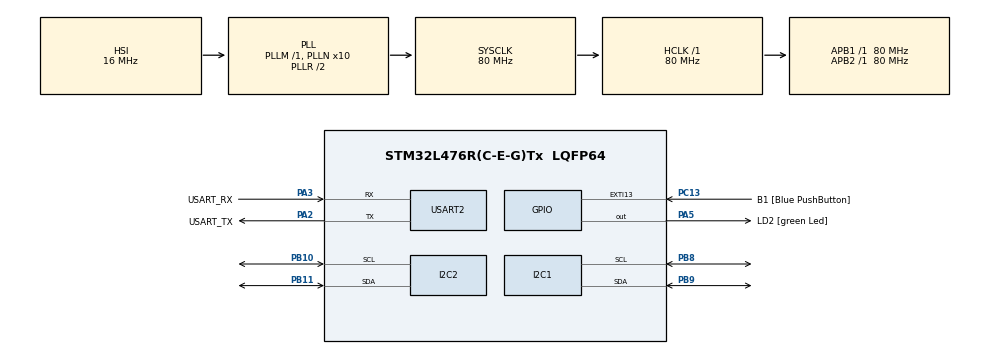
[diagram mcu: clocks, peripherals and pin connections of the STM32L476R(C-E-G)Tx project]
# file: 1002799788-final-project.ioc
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Dma.Request0=USART2_RX
Dma.USART2_RX.0.Direction=DMA_PERIPH_TO_MEMORY
Dma.USART2_RX.0.Instance=DMA1_Channel6
Dma.USART2_RX.0.MemDataAlignment=DMA_MDATAALIGN_BYTE
Dma.USART2_RX.0.MemInc=DMA_MINC_ENABLE
Dma.USART2_RX.0.Mode=DMA_NORMAL
Dma.USART2_RX.0.PeriphDataAlignment=DMA_PDATAALIGN_BYTE
Dma.USART2_RX.0.PeriphInc=DMA_PINC_DISABLE
Dma.USART2_RX.0.Priority=DMA_PRIORITY_VERY_HIGH
I2C1.Timing=0x10909CEC
I2C2.Timing=0x10909CEC
Mcu.Family=STM32L4
Mcu.Name=STM32L476R(C-E-G)Tx
Mcu.Package=LQFP64
NVIC.DMA1_Channel6_IRQn=true\:0\:0\:false\:false\:true\:false\:true\:true
NVIC.EXTI15_10_IRQn=true\:0\:0\:false\:false\:true\:true\:true\:true
NVIC.PriorityGroup=NVIC_PRIORITYGROUP_4
NVIC.USART2_IRQn=true\:0\:0\:false\:false\:true\:true\:true\:true
PA13\ (JTMS-SWDIO).GPIO_Label=TMS
PA13\ (JTMS-SWDIO).Mode=Serial_Wire
PA13\ (JTMS-SWDIO).Signal=SYS_JTMS-SWDIO
PA14\ (JTCK-SWCLK).GPIO_Label=TCK
PA14\ (JTCK-SWCLK).Mode=Serial_Wire
PA14\ (JTCK-SWCLK).Signal=SYS_JTCK-SWCLK
PA2.GPIO_Label=USART_TX
PA2.GPIO_Mode=GPIO_MODE_AF_PP
PA2.GPIO_PuPd=GPIO_NOPULL
PA2.GPIO_Speed=GPIO_SPEED_FREQ_VERY_HIGH
PA2.Mode=Asynchronous
PA2.Signal=USART2_TX
PA3.GPIO_Label=USART_RX
PA3.GPIO_Mode=GPIO_MODE_AF_PP
PA3.GPIO_PuPd=GPIO_NOPULL
PA3.GPIO_Speed=GPIO_SPEED_FREQ_VERY_HIGH
PA3.Mode=Asynchronous
PA3.Signal=USART2_RX
PA5.GPIO_Label=LD2 [green Led]
PA5.GPIO_ModeDefaultOutputPP=GPIO_MODE_OUTPUT_PP
PA5.GPIO_PuPd=GPIO_NOPULL
PA5.GPIO_Speed=GPIO_SPEED_FREQ_LOW
PA5.Signal=GPIO_Output
PB10.Mode=I2C
PB10.Signal=I2C2_SCL
PB11.Mode=I2C
PB11.Signal=I2C2_SDA
PB3\ (JTDO-TRACESWO).GPIO_Label=SWO
PB3\ (JTDO-TRACESWO).Signal=SYS_JTDO-SWO
PB8.Mode=I2C
PB8.Signal=I2C1_SCL
PB9.Mode=I2C
PB9.Signal=I2C1_SDA
PC13.GPIO_Label=B1 [Blue PushButton]
PC13.GPIO_ModeDefaultEXTI=GPIO_MODE_IT_FALLING
PC13.GPIO_PuPd=GPIO_NOPULL
PC13.Signal=GPXTI13
PC14-OSC32_IN\ (PC14).Mode=LSE-External-Oscillator
PC14-OSC32_IN\ (PC14).Signal=RCC_OSC32_IN
PC15-OSC32_OUT\ (PC15).Mode=LSE-External-Oscillator
PC15-OSC32_OUT\ (PC15).Signal=RCC_OSC32_OUT
PH0-OSC_IN\ (PH0).Signal=RCC_OSC_IN
PH1-OSC_OUT\ (PH1).Signal=RCC_OSC_OUT
ProjectManager.HeapSize=0x200
ProjectManager.StackSize=0x400
ProjectManager.TargetToolchain=STM32CubeIDE
RCC.ADCFreq_Value=64000000
RCC.AHBFreq_Value=80000000
RCC.APB1Freq_Value=80000000
RCC.APB1TimFreq_Value=80000000
RCC.APB2Freq_Value=80000000
RCC.APB2TimFreq_Value=80000000
RCC.CortexFreq_Value=80000000
RCC.HCLKFreq_Value=80000000
RCC.HSE_VALUE=8000000
RCC.HSI_VALUE=16000000
RCC.MSI_VALUE=4000000
RCC.PLLN=10
RCC.PLLSourceVirtual=RCC_PLLSOURCE_HSI
RCC.PREFETCH_ENABLE=1
RCC.SYSCLKFreq_VALUE=80000000
RCC.SYSCLKSource=RCC_SYSCLKSOURCE_PLLCLK
RCC.USBFreq_Value=64000000
RCC.VCOOutputFreq_Value=160000000
USART2.VirtualMode-Asynchronous=VM_ASYNC
board=NUCLEO-L476RG

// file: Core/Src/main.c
/* USER CODE BEGIN Header */
/**
  ******************************************************************************
  * @file           : main.c
  * @brief          : Main program body
  ******************************************************************************
  * @attention
  *
  * Copyright (c) 2023 STMicroelectronics.
  * All rights reserved.
  *
  * This software is licensed under terms that can be found in the LICENSE file
  * in the root directory of this software component.
  * If no LICENSE file comes with this software, it is provided AS-IS.
  *
  ******************************************************************************
  */
/* USER CODE END Header */
#include "main.h"

/* USER CODE BEGIN Includes */
#include <stdio.h>
#include <string.h>
#include "ring_buffer.h"
#include <ssd1306.h>
#include <ssd1306_fonts.h>
/* USER CODE END Includes */

I2C_HandleTypeDef hi2c1;
I2C_HandleTypeDef hi2c2;

UART_HandleTypeDef huart2;
DMA_HandleTypeDef hdma_usart2_rx;

/* USER CODE BEGIN PV */
ring_buffer_t ring_buffer_uart_rx;
uint8_t couter=0;
uint8_t rx_buffer[10];//1002799788
uint8_t rx_data;
uint8_t code[]={49,48,48,50,55,57,57,55,56,56};
uint8_t error=0;

uint8_t num[10];
/* USER CODE END PV */

void SystemClock_Config(void);
static void MX_GPIO_Init(void);
static void MX_DMA_Init(void);
static void MX_USART2_UART_Init(void);
static void MX_I2C2_Init(void);
static void MX_I2C1_Init(void);

/* USER CODE BEGIN 0 */
int _write(int file, char *ptr, int len)
{
  HAL_UART_Transmit(&huart2, (uint8_t *)ptr, len, HAL_MAX_DELAY);
  return len;
}

void HAL_UART_RxCpltCallback(UART_HandleTypeDef *huart2)
{
	for (uint8_t j=0;j<=9;j++)
	{
		ring_buffer_put(&ring_buffer_uart_rx, num[j]);
	}

}

/* USER CODE END 0 */

int main(void)
{

  /* MCU Configuration--------------------------------------------------------*/

  /* Reset of all peripherals, Initializes the Flash interface and the Systick. */
  HAL_Init();

  /* Configure the system clock */
  SystemClock_Config();

  /* Initialize all configured peripherals */
  MX_GPIO_Init();
  MX_DMA_Init();
  MX_USART2_UART_Init();
  MX_I2C2_Init();
  MX_I2C1_Init();
  /* USER CODE BEGIN 2 */
  ring_buffer_init(&ring_buffer_uart_rx, rx_buffer, 10);

  //HAL_UART_Receive_IT(&huart2, rx_buffer[i], 1);

  /* USER CODE END 2 */

  /* Infinite loop */
  /* USER CODE BEGIN WHILE */
  while (1)
  {
	  if(ring_buffer_is_full(&ring_buffer_uart_rx)==1){

		  ssd1306_Init();//initializes the display and shows the message
		  ssd1306_Fill(Black);
		  ssd1306_SetCursor(20, 20);
		  ssd1306_WriteString("Waiting", Font_7x10, White);
		  ssd1306_UpdateScreen();

	  }

  HAL_UART_Receive_IT(&huart2,num,10);

  if(memcmp(rx_buffer, code, 10)==0 && ring_buffer_is_full(&ring_buffer_uart_rx)==1)//generates "pass" message when the combination is correct
  			  {

  				      ssd1306_Init();//initializes the display and shows the message
  				      ssd1306_Fill(Black);
  				      ssd1306_SetCursor(20, 20);
  				      ssd1306_WriteString("Success", Font_7x10, White);
  				      ssd1306_UpdateScreen();
  				      ring_buffer_reset(&ring_buffer_uart_rx);
  				      HAL_Delay(10000);
  				      ring_buffer_reset(&ring_buffer_uart_rx);

  			  }

  if(memcmp(rx_buffer, code, 10)!=0 && ring_buffer_is_full(&ring_buffer_uart_rx)==1) //compares the correct combination with the one delivered and generates the message "fail" when the combination is incorrect.
  			  {

  				  	  ssd1306_Init();//initializes the display and shows the message
  				      ssd1306_Fill(Black);
  				      ssd1306_SetCursor(20, 20);
  				      ssd1306_WriteString("Failed", Font_7x10, White);
  				      ssd1306_UpdateScreen();
  				      error=error+1;

  				      HAL_Delay(10000);
  				      ssd1306_Init();//initializes the display and shows the message
  				      ssd1306_Fill(Black);
  				      ssd1306_SetCursor(20, 20);
  				      ssd1306_WriteString("Waiting", Font_7x10, White);
  				      ssd1306_UpdateScreen();
  				      ring_buffer_reset(&ring_buffer_uart_rx);
  			  }

  if(error==3){

	  ssd1306_Init();//initializes the display and shows the message
	  ssd1306_Fill(Black);
	  ssd1306_SetCursor(20, 20);
	  ssd1306_WriteString("blocked", Font_7x10, White);
	  ssd1306_UpdateScreen();
	  HAL_Delay(30000);
	  error=0;

	   ssd1306_Init();//initializes the display and shows the message
	   ssd1306_Fill(Black);
	   ssd1306_SetCursor(20, 20);
	   ssd1306_WriteString("Waiting", Font_7x10, White);
	   ssd1306_UpdateScreen();
	   ring_buffer_reset(&ring_buffer_uart_rx);
  }

    /* USER CODE END WHILE */

  }
}

void SystemClock_Config(void)
{
  RCC_OscInitTypeDef RCC_OscInitStruct = {0};
  RCC_ClkInitTypeDef RCC_ClkInitStruct = {0};

  /** Configure the main internal regulator output voltage
  */
  if (HAL_PWREx_ControlVoltageScaling(PWR_REGULATOR_VOLTAGE_SCALE1) != HAL_OK)
  {
    Error_Handler();
  }

  /** Initializes the RCC Oscillators according to the specified parameters
  * in the RCC_OscInitTypeDef structure.
  */
  RCC_OscInitStruct.OscillatorType = RCC_OSCILLATORTYPE_HSI;
  RCC_OscInitStruct.HSIState = RCC_HSI_ON;
  RCC_OscInitStruct.HSICalibrationValue = RCC_HSICALIBRATION_DEFAULT;
  RCC_OscInitStruct.PLL.PLLState = RCC_PLL_ON;
  RCC_OscInitStruct.PLL.PLLSource = RCC_PLLSOURCE_HSI;
  RCC_OscInitStruct.PLL.PLLM = 1;
  RCC_OscInitStruct.PLL.PLLN = 10;
  RCC_OscInitStruct.PLL.PLLP = RCC_PLLP_DIV7;
  RCC_OscInitStruct.PLL.PLLQ = RCC_PLLQ_DIV2;
  RCC_OscInitStruct.PLL.PLLR = RCC_PLLR_DIV2;
  if (HAL_RCC_OscConfig(&RCC_OscInitStruct) != HAL_OK)
  {
    Error_Handler();
  }

  /** Initializes the CPU, AHB and APB buses clocks
  */
  RCC_ClkInitStruct.ClockType = RCC_CLOCKTYPE_HCLK|RCC_CLOCKTYPE_SYSCLK
                              |RCC_CLOCKTYPE_PCLK1|RCC_CLOCKTYPE_PCLK2;
  RCC_ClkInitStruct.SYSCLKSource = RCC_SYSCLKSOURCE_PLLCLK;
  RCC_ClkInitStruct.AHBCLKDivider = RCC_SYSCLK_DIV1;
  RCC_ClkInitStruct.APB1CLKDivider = RCC_HCLK_DIV1;
  RCC_ClkInitStruct.APB2CLKDivider = RCC_HCLK_DIV1;

  if (HAL_RCC_ClockConfig(&RCC_ClkInitStruct, FLASH_LATENCY_4) != HAL_OK)
  {
    Error_Handler();
  }
}

static void MX_I2C1_Init(void)
{

  hi2c1.Instance = I2C1;
  hi2c1.Init.Timing = 0x10909CEC;
  hi2c1.Init.OwnAddress1 = 0;
  hi2c1.Init.AddressingMode = I2C_ADDRESSINGMODE_7BIT;
  hi2c1.Init.DualAddressMode = I2C_DUALADDRESS_DISABLE;
  hi2c1.Init.OwnAddress2 = 0;
  hi2c1.Init.OwnAddress2Masks = I2C_OA2_NOMASK;
  hi2c1.Init.GeneralCallMode = I2C_GENERALCALL_DISABLE;
  hi2c1.Init.NoStretchMode = I2C_NOSTRETCH_DISABLE;
  if (HAL_I2C_Init(&hi2c1) != HAL_OK)
  {
    Error_Handler();
  }

  /** Configure Analogue filter
  */
  if (HAL_I2CEx_ConfigAnalogFilter(&hi2c1, I2C_ANALOGFILTER_ENABLE) != HAL_OK)
  {
    Error_Handler();
  }

  /** Configure Digital filter
  */
  if (HAL_I2CEx_ConfigDigitalFilter(&hi2c1, 0) != HAL_OK)
  {
    Error_Handler();
  }

}

static void MX_I2C2_Init(void)
{

  hi2c2.Instance = I2C2;
  hi2c2.Init.Timing = 0x10909CEC;
  hi2c2.Init.OwnAddress1 = 0;
  hi2c2.Init.AddressingMode = I2C_ADDRESSINGMODE_7BIT;
  hi2c2.Init.DualAddressMode = I2C_DUALADDRESS_DISABLE;
  hi2c2.Init.OwnAddress2 = 0;
  hi2c2.Init.OwnAddress2Masks = I2C_OA2_NOMASK;
  hi2c2.Init.GeneralCallMode = I2C_GENERALCALL_DISABLE;
  hi2c2.Init.NoStretchMode = I2C_NOSTRETCH_DISABLE;
  if (HAL_I2C_Init(&hi2c2) != HAL_OK)
  {
    Error_Handler();
  }

  /** Configure Analogue filter
  */
  if (HAL_I2CEx_ConfigAnalogFilter(&hi2c2, I2C_ANALOGFILTER_ENABLE) != HAL_OK)
  {
    Error_Handler();
  }

  /** Configure Digital filter
  */
  if (HAL_I2CEx_ConfigDigitalFilter(&hi2c2, 0) != HAL_OK)
  {
    Error_Handler();
  }

}

static void MX_USART2_UART_Init(void)
{

  huart2.Instance = USART2;
  huart2.Init.BaudRate = 115200;
  huart2.Init.WordLength = UART_WORDLENGTH_8B;
  huart2.Init.StopBits = UART_STOPBITS_1;
  huart2.Init.Parity = UART_PARITY_NONE;
  huart2.Init.Mode = UART_MODE_TX_RX;
  huart2.Init.HwFlowCtl = UART_HWCONTROL_NONE;
  huart2.Init.OverSampling = UART_OVERSAMPLING_16;
  huart2.Init.OneBitSampling = UART_ONE_BIT_SAMPLE_DISABLE;
  huart2.AdvancedInit.AdvFeatureInit = UART_ADVFEATURE_NO_INIT;
  if (HAL_UART_Init(&huart2) != HAL_OK)
  {
    Error_Handler();
  }

}

static void MX_DMA_Init(void)
{

  /* DMA controller clock enable */
  __HAL_RCC_DMA1_CLK_ENABLE();

  /* DMA interrupt init */
  /* DMA1_Channel6_IRQn interrupt configuration */
  HAL_NVIC_SetPriority(DMA1_Channel6_IRQn, 0, 0);
  HAL_NVIC_EnableIRQ(DMA1_Channel6_IRQn);

}

static void MX_GPIO_Init(void)
{
  GPIO_InitTypeDef GPIO_InitStruct = {0};

  /* GPIO Ports Clock Enable */
  __HAL_RCC_GPIOC_CLK_ENABLE();
  __HAL_RCC_GPIOH_CLK_ENABLE();
  __HAL_RCC_GPIOA_CLK_ENABLE();
  __HAL_RCC_GPIOB_CLK_ENABLE();

  /*Configure GPIO pin Output Level */
  HAL_GPIO_WritePin(LD2_GPIO_Port, LD2_Pin, GPIO_PIN_RESET);

  /*Configure GPIO pin : B1_Pin */
  GPIO_InitStruct.Pin = B1_Pin;
  GPIO_InitStruct.Mode = GPIO_MODE_IT_FALLING;
  GPIO_InitStruct.Pull = GPIO_NOPULL;
  HAL_GPIO_Init(B1_GPIO_Port, &GPIO_InitStruct);

  /*Configure GPIO pin : LD2_Pin */
  GPIO_InitStruct.Pin = LD2_Pin;
  GPIO_InitStruct.Mode = GPIO_MODE_OUTPUT_PP;
  GPIO_InitStruct.Pull = GPIO_NOPULL;
  GPIO_InitStruct.Speed = GPIO_SPEED_FREQ_LOW;
  HAL_GPIO_Init(LD2_GPIO_Port, &GPIO_InitStruct);

  /* EXTI interrupt init*/
  HAL_NVIC_SetPriority(EXTI15_10_IRQn, 0, 0);
  HAL_NVIC_EnableIRQ(EXTI15_10_IRQn);

}

void Error_Handler(void)
{
  __disable_irq();
  while (1)
  {
  }
}
